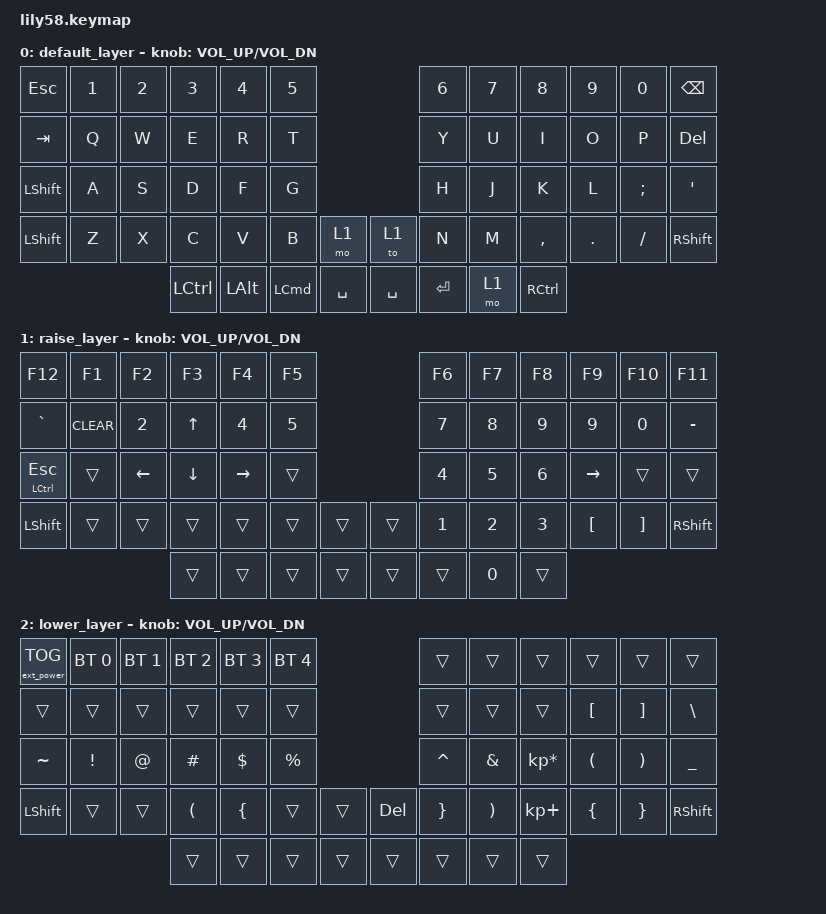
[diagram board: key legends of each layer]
/*
 * Copyright (c) 2020 The ZMK Contributors
 *
 * SPDX-License-Identifier: MIT
 */

#include <behaviors.dtsi>
#include <dt-bindings/zmk/bt.h>
#include <dt-bindings/zmk/ext_power.h>
#include <dt-bindings/zmk/keys.h>

/ {
    // Combo keys are a way to combine multiple keypresses to output a different key.

    combos {
        compatible = "zmk,combos";

        combo_clear_bluetooth {
            timeout-ms = <50>; // Press all the below keys within 50ms to activate mapping
            key-positions = <52 42 0>; // Press 52=LOWER, 42=[, 0=tilde
            bindings = <&bt BT_CLR>; // activate clear bluetooth bindings for current channel
        };
    };

    keymap {
        compatible = "zmk,keymap";

        default_layer {
            // ------------------------------------------------------------------------------------------------------------
            // |   `      |  1  |  2  |  3   |  4   |  5   |                   |  6   |  7    |  8    |  9   |   0   |   -   |
            // |  TAB     |  Q  |  W  |  E   |  R   |  T   |                   |  Y   |  U    |  I    |  O   |   P   |   =   |
            // |hCTRL tESC|  A  |  S  |  D   |  F   |  G   |                   |  H   |  J    |  K    |  L   |   ;   |   '   |
            // | SHIFT    |  Z  |  X  |  C   |  V   |  B   |   "["  |  |  "]"  |  N   |  M    |  ,    |  .   |   /   | SHIFT |
            //                        | ALT  | GUI  | LOWER|  SPACE |  | BSPC  | ENTER| RAISE | CTRL  |

            bindings = <
&kp ESCAPE      &kp N1  &kp N2  &kp N3            &kp N4        &kp N5                                    &kp N6   &kp N7  &kp N8     &kp N9   &kp N0    &kp BACKSPACE
&kp TAB         &kp Q   &kp W   &kp E             &kp R         &kp T                                     &kp Y    &kp U   &kp I      &kp O    &kp P     &kp DELETE
&kp LEFT_SHIFT  &kp A   &kp S   &kp D             &kp F         &kp G                                     &kp H    &kp J   &kp K      &kp L    &kp SEMI  &kp SQT
&kp LSHFT       &kp Z   &kp X   &kp C             &kp V         &kp B             &mo 1        &to 1      &kp N    &kp M   &kp COMMA  &kp DOT  &kp FSLH  &kp RSHFT
                                &kp LEFT_CONTROL  &kp LEFT_ALT  &kp LEFT_COMMAND  &kp SPACE    &kp SPACE  &kp RET  &mo 1   &kp RCTRL
            >;

            sensor-bindings = <&inc_dec_kp C_VOL_UP C_VOL_DN>;
        };

        raise_layer {
            // ------------------------------------------------------------------------------------------------------------
            // |  F12    |  F1 |  F2 |  F3  |  F4  |  F5  |                   |  F6  |   F7  |   F8  |  F9  |  F10  |  F11  |
            // |   `     |  1  |  2  |  3   |  4   |  5   |                   |  6   |   7   |   8   |  9   |   0   |   -   |
            // |CTRL/ESC |     |     |      |      |      |                   |  <-  |   ^   |   v   |  ->  |       |       |
            // | SHIFT   |     |     |      |      |      |        |  |       |  +   |   -   |   =   |  [   |   ]   |   \   |
            //                       |      |      |      |        |  |       |      |       |       |

            bindings = <
&kp F12        &kp F1     &kp F2          &kp F3          &kp F4           &kp F5                    &kp F6        &kp F7        &kp F8        &kp F9     &kp F10   &kp F11
&kp GRAVE      &kp CLEAR  &kp N2          &kp UP_ARROW    &kp N4           &kp N5                    &kp N7        &kp NUMBER_8  &kp NUMBER_9  &kp N9     &kp N0    &kp MINUS
&mt LCTRL ESC  &trans     &kp LEFT_ARROW  &kp DOWN_ARROW  &kp RIGHT_ARROW  &trans                    &kp NUMBER_4  &kp NUMBER_5  &kp NUMBER_6  &kp RIGHT  &trans    &trans
&kp LSHIFT     &trans     &trans          &trans          &trans           &trans  &trans    &trans  &kp NUMBER_1  &kp NUMBER_2  &kp NUMBER_3  &kp LBKT   &kp RBKT  &kp RIGHT_SHIFT
                                          &trans          &trans           &trans  &trans    &trans  &trans        &kp NUMBER_0  &trans
            >;

            sensor-bindings = <&inc_dec_kp C_VOL_UP C_VOL_DN>;
        };

        lower_layer {
            // ------------------------------------------------------------------------------------------------------------
            // | EXT PWR TOGGLE | BT1     | BT2    |  BT3 |  BT4  |  BT5 |                    |      |       |       |      |       |       |
            // |                |         |        |      |       |      |                    |      |       |       |      |       |   \   |
            // |   ~            |  !      |  @     |  #   |  $    |  %   |                    |  ^   |  &    |  *    |  (   |   )   |   _   |
            // | SHIFT          |  EP_ON  | EP_OFF |      |  (    |  {   |       |  |   DEL   |  }   |  )    |  +    |  {   |   }   | SHIFT |
            //                                     |      |       |      |       |  |         |      |       |       |

            bindings = <
&ext_power EP_TOG  &bt BT_SEL 0  &bt BT_SEL 1  &bt BT_SEL 2  &bt BT_SEL 3  &bt BT_SEL 4                     &trans     &trans    &trans           &trans            &trans             &trans
&trans             &trans        &trans        &trans        &trans        &trans                           &trans     &trans    &trans           &kp LEFT_BRACKET  &kp RIGHT_BRACKET  &kp BSLH
&kp TILDE          &kp EXCL      &kp AT        &kp HASH      &kp DOLLAR    &kp PRCNT                        &kp CARET  &kp AMPS  &kp KP_MULTIPLY  &kp LPAR          &kp RPAR           &kp UNDER
&kp LSHIFT         &trans        &trans        &kp LPAR      &kp LBRC      &trans        &trans    &kp DEL  &kp RBRC   &kp RPAR  &kp KP_PLUS      &kp LBRC          &kp RBRC           &kp RSHFT
                                               &trans        &trans        &trans        &trans    &trans   &trans     &trans    &trans
            >;

            sensor-bindings = <&inc_dec_kp C_VOL_UP C_VOL_DN>;
        };
    };
};
